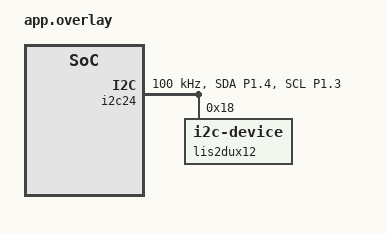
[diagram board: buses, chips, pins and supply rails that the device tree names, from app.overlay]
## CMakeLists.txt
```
# SPDX-License-Identifier: Apache-2.0

cmake_minimum_required(VERSION 3.20.0)

find_package(Zephyr REQUIRED HINTS $ENV{ZEPHYR_BASE})
project(hello_world)

target_sources(app PRIVATE
    src/main.c
    src/lis2dux12_reg.c
    src/lis2dux12_init.c
)
```

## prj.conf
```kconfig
CONFIG_GPIO=y
CONFIG_I2C=y

CONFIG_LOG=y
CONFIG_LOG_MODE_DEFERRED=n
```

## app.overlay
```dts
// Dinh nghia cac chan cho i2c va tdm
&pinctrl {
	i2c_default: i2c_default {
	        group1 {
	                psels = <NRF_PSEL(TWIM_SDA, 1, 4)>,
		                <NRF_PSEL(TWIM_SCL, 1, 3)>;
	                bias-pull-up;
		};
	};

	i2c_sleep: i2c_sleep {
                group1 {
			psels = <NRF_PSEL(TWIM_SDA, 1, 4)>,
				<NRF_PSEL(TWIM_SCL, 1, 3)>;
			low-power-enable;
		};
        };
};

&i2c24 {
	compatible = "nordic,nrf-twim";
	status = "okay";
	clock-frequency = <I2C_BITRATE_STANDARD>;
	pinctrl-0 = <&i2c_default>;
	pinctrl-1 = <&i2c_sleep>;
	pinctrl-names = "default", "sleep";

	lis2dux12: lis2dux12@18 {
		compatible = "i2c-device";
		reg = <0x18>;
	};
};

&gpio3 {
	status = "okay";
};
```

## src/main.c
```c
#include <zephyr/kernel.h>
#include <zephyr/device.h>
#include <zephyr/devicetree.h>
#include <zephyr/drivers/gpio.h>
#include <zephyr/sys/printk.h>
#include <zephyr/debug/thread_analyzer.h>

#include "lis2dux12_init.h"

/* ------------------------------------------------------------------ */
int main(void)
{
    lis2dux12_init();

    while (1)
    {
        if (k_sem_take(&mlc_sync_sem, K_FOREVER) == 0)
        {
            lis2dux12_mlc_out();
        }
    }
}
```

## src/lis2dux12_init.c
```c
#include <zephyr/kernel.h>
#include <zephyr/device.h>
#include <zephyr/drivers/gpio.h>
#include <zephyr/devicetree.h>
#include <zephyr/drivers/i2c.h>
#include <zephyr/sys/printk.h>
#include <zephyr/logging/log.h>

#include "lis2dux12_reg.h"
#include "mlc_adl_fall.h"
#include "lis2dux12_init.h"

LOG_MODULE_REGISTER(ACCE_INIT);

#define I2C_DEV_NODE DT_NODELABEL(i2c24)
#define SENSOR_NODE DT_NODELABEL(lis2dux12)
#define INT2_PIN 23

static const struct i2c_dt_spec sensor_i2c = I2C_DT_SPEC_GET(SENSOR_NODE);
static const uint8_t prev_mlc_out = 4U; // Trang thai truoc khi so sanh luon la ADL

static stmdev_ctx_t dev_ctx;
static lis2dux12_priv_t dev_priv;
static uint8_t whoamI;

// Callback cho chan ACCE_INT2
static struct gpio_callback lis2dux12_int_cb_data;

// Khai báo Semaphore
K_SEM_DEFINE(mlc_sync_sem, 0, 1);

static void lis2dux12_int_handler(const struct device *port, struct gpio_callback *cb, gpio_port_pins_t pins)
{
    k_sem_give(&mlc_sync_sem);
}

static int32_t platform_write(void *handle, uint8_t reg, const uint8_t *buf, uint16_t len)
{
    return i2c_burst_write_dt((const struct i2c_dt_spec *)handle, reg, buf, len);
}

static int32_t platform_read(void *handle, uint8_t reg, uint8_t *buf, uint16_t len)
{
    return i2c_burst_read_dt((const struct i2c_dt_spec *)handle, reg, buf, len);
}

static void platform_delay(uint32_t ms)
{
    k_msleep(ms);
}

static int load_mlc_config(void)
{
    LOG_INF("Dang nap cau hinh AI vao cam bien...");

    for (int i = 0; i < MLC_CONFIG_SIZE; i++)
    {
        uint8_t data = mlc_adl_fall_config[i].data;

        int ret = lis2dux12_write_reg(&dev_ctx, mlc_adl_fall_config[i].address, &data, 1);

        if (ret != 0)
        {
            LOG_ERR("Lenh %d: ghi thanh ghi 0x%02X that bai (ret=%d)", i, (unsigned int)mlc_adl_fall_config[i].address, ret);
            return ret; // Dung nap khi co loi
        }

        if (i == 0)
        {
            k_msleep(5); // WAIT 5ms sau lenh ghi dau tien
        }
    }
    LOG_INF("Da ghi xong cau hinh MLC.");
    return 0;
}

void lis2dux12_init(void)
{
    const struct device *i2c_dev = DEVICE_DT_GET(I2C_DEV_NODE);
    if (!device_is_ready(i2c_dev))
    {
        LOG_ERR("Bus I2C chua san sang!\n");
        return;
    }

    dev_ctx.write_reg = platform_write;
    dev_ctx.read_reg = platform_read;
    dev_ctx.mdelay = platform_delay;
    dev_ctx.handle = (void *)&sensor_i2c;
    dev_ctx.priv_data = &dev_priv;

    lis2dux12_exit_deep_power_down(&dev_ctx);

    // Sensor ID Check
    lis2dux12_device_id_get(&dev_ctx, &whoamI);
    if (whoamI != LIS2DUX12_ID)
    {
        LOG_ERR("Error: Sensor ID mismatch\n");
        // while (1);
    }
    LOG_INF("LIS2DUX12 ID OK: 0x47\n");

    lis2dux12_sw_reset(&dev_ctx);
    k_msleep(10);
    lis2dux12_init_set(&dev_ctx);

    // Nap cau hinh MLC vao cam bien
    LOG_INF("Dang nap cau hinh AI vao cam bien...\n");
    int32_t ret = load_mlc_config();

    if (ret != 0)
    {
        // Dung khoi tao MLC
        LOG_ERR("Nap cau hinh MLC that bai.");
    }
    else
    {
        // Khoi tao MLC thanh cong
        LOG_INF("San sang doc ket qua MLC.");
    }

    // Cau hinh chan va callback cho chan ACCE_INT2
    const struct device *gpio1_dev = DEVICE_DT_GET(DT_NODELABEL(gpio1));
    if (device_is_ready(gpio1_dev))
    {
        gpio_pin_configure(gpio1_dev, INT2_PIN, GPIO_INPUT | GPIO_PULL_DOWN);
        gpio_pin_interrupt_configure(gpio1_dev, INT2_PIN, GPIO_INT_EDGE_TO_ACTIVE);
        gpio_init_callback(&lis2dux12_int_cb_data, lis2dux12_int_handler, BIT(INT2_PIN));
        gpio_add_callback(gpio1_dev, &lis2dux12_int_cb_data);
    }

    /* Thanh ghi cua lis2dux12 chia thanh 2 bank (main bank va embedded func bank)
     * Cung la dia chi 0x11 nhung co 2 thanh ghi la CTRL2 va MLC_INT2
     * Muon doc ghi thanh ghi MLC_INT2 thi phai chuyen sang embedded func bank
     * neu khong se nham voi CTRL2
     */
    lis2dux12_mlc_int2_t mlc_int2 = {0};

    // Chuyen sang bank nhung
    int32_t ret = lis2dux12_mem_bank_set(&dev_ctx, LIS2DUX12_EMBED_FUNC_MEM_BANK);

    // Cau hinh MLC_INT2
    if (ret == 0)
    {
        ret = lis2dux12_read_reg(&dev_ctx, LIS2DUX12_MLC_INT2, (uint8_t *)&mlc_int2, 1);
    }

    if (ret == 0)
    {
        mlc_int2.int2_mlc1 = 1;

        ret = lis2dux12_write_reg(&dev_ctx, LIS2DUX12_MLC_INT2, (uint8_t *)&mlc_int2, 1);
    }

    // Chuyen ve bank main
    lis2dux12_mem_bank_set(&dev_ctx, LIS2DUX12_MAIN_MEM_BANK);

    // Dinh tuyen Embedded Functions ra chan INT2
    lis2dux12_pin_int_route_t pin_int2_route;
    lis2dux12_pin_int2_route_get(&dev_ctx, &pin_int2_route);
    pin_int2_route.emb_function = 1;
    lis2dux12_pin_int2_route_set(&dev_ctx, &pin_int2_route);
}

void lis2dux12_mlc_out(void)
{
    // Reset thanh ghi trang thai de chuan bi lan doc tiep theo
    lis2dux12_all_sources_t all_src;
    lis2dux12_all_sources_get(&dev_ctx, &all_src);

    lis2dux12_mlc_status_mainpage_t status;

    // Ham mlc_out ghi 4 byte vao dia chi duoc chuyen vao nen phai khai bao mang 4 phan tu
    uint8_t mlc_out[4] = {0};

    // Chi doc khi co trang thai moi
    lis2dux12_mlc_status_get(&dev_ctx, &status);

    if (status.is_mlc1)
    {
        lis2dux12_mlc_out_get(&dev_ctx, mlc_out);

        switch (*mlc_out)
        {
        case 0:
            LOG_INF("Fall\n");
            break;
        case 4:
            LOG_INF("ADL\n");
            break;
        }
    }

    // Check dieu kien nga
    if (prev_mlc_out == 4U && *mlc_out == 0U)
    {
        LOG_INF("Canh Bao: Phat hien nga !!\n");
    }
}
```

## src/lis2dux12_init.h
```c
#ifndef MLC_FALL_H
#define MLC_FALL_H

#include <stdint.h>

extern struct k_sem mlc_sync_sem;

/* Khoi tao cam bien + nap cau hinh AI (MLC). Khong cau hinh ngat GPIO. */
void lis2dux12_init(void);

/* Doc trang thai MLC 1 lan va tu kiem tra chuyen trang thai.
 * Goi ham nay LAP LAI (vd trong vong lap while cua main, cach nhau
 * mot khoang k_msleep) de MLC "chay ngam" lien tuc. */
void lis2dux12_mlc_out(void);

#endif /* MLC_FALL_H */
```

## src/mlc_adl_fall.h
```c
#ifndef MLC_ADL_FALL11_V3_H
#define MLC_ADL_FALL11_V3_H

#include <stdint.h>

/* * Thu vien cau hinh Machine Learning Core cho LIS2DUX12
 * Ket qua Decision Tree 1 (MLC1_SRC - 0x70):
 * 0  = Fall
 * 4  = ADL
 */

typedef struct
{
    uint8_t address;
    uint8_t data;
} mems_register_t;

#define MLC_CONFIG_SIZE 141 // So luong lenh cau hinh tu file .ucf

const mems_register_t mlc_adl_fall_config[MLC_CONFIG_SIZE] = {
    {0x13, 0x10},
    {0x14, 0x00},
    {0x3F, 0x80},
    {0x04, 0x00},
    {0x05, 0x00},
    {0x17, 0x40},
    {0x02, 0x01},
    {0x08, 0xB8},
    {0x09, 0xF8},
    {0x09, 0x00},
    {0x09, 0x04},
    {0x09, 0x01},
    {0x09, 0x00},
    {0x09, 0x00},
    {0x09, 0x0A},
    {0x09, 0x01},
    {0x09, 0xC8},
    {0x02, 0x01},
    {0x08, 0xC8},
    {0x09, 0xDC},
    {0x09, 0x00},
    {0x09, 0x0C},
    {0x09, 0x01},
    {0x09, 0x18},
    {0x09, 0x01},
    {0x02, 0x01},
    {0x08, 0xDC},
    {0x09, 0x01},
    {0x09, 0x00},
    {0x09, 0x00},
    {0x09, 0x00},
    {0x09, 0x3F},
    {0x09, 0x00},
    {0x09, 0x00},
    {0x09, 0x18},
    {0x09, 0x00},
    {0x09, 0x00},
    {0x09, 0x01},
    {0x09, 0x18},
    {0x09, 0x00},
    {0x09, 0x00},
    {0x09, 0x00},
    {0x09, 0x00},
    {0x09, 0x02},
    {0x09, 0x10},
    {0x09, 0x00},
    {0x09, 0x00},
    {0x09, 0x03},
    {0x09, 0x10},
    {0x09, 0x00},
    {0x09, 0xFC},
    {0x09, 0x00},
    {0x09, 0x7C},
    {0x09, 0x1F},
    {0x09, 0x00},
    {0x02, 0x11},
    {0x08, 0x0C},
    {0x09, 0x00},
    {0x09, 0x00},
    {0x09, 0x00},
    {0x09, 0x00},
    {0x09, 0x00},
    {0x09, 0x00},
    {0x09, 0x00},
    {0x09, 0x33},
    {0x09, 0x00},
    {0x09, 0x00},
    {0x09, 0x00},
    {0x3F, 0x00},
    {0x3F, 0x80},
    {0x17, 0x40},
    {0x02, 0x11},
    {0x08, 0x18},
    {0x09, 0xB4},
    {0x09, 0x34},
    {0x09, 0x05},
    {0x09, 0x83},
    {0x09, 0x3E},
    {0x09, 0x09},
    {0x09, 0x24},
    {0x09, 0xC0},
    {0x09, 0xB0},
    {0x09, 0x02},
    {0x09, 0x00},
    {0x09, 0xA1},
    {0x09, 0xB8},
    {0x09, 0x0A},
    {0x09, 0x40},
    {0x09, 0xA0},
    {0x09, 0x46},
    {0x09, 0x5A},
    {0x09, 0x04},
    {0x09, 0xE2},
    {0x09, 0x9B},
    {0x09, 0x39},
    {0x09, 0x09},
    {0x09, 0x83},
    {0x09, 0xBC},
    {0x09, 0x07},
    {0x09, 0x70},
    {0x09, 0xC1},
    {0x09, 0x6D},
    {0x09, 0x38},
    {0x09, 0x80},
    {0x09, 0xC3},
    {0x09, 0x52},
    {0x09, 0x39},
    {0x09, 0x04},
    {0x09, 0xE3},
    {0x09, 0x85},
    {0x09, 0x40},
    {0x09, 0xA4},
    {0x09, 0xC3},
    {0x09, 0xE3},
    {0x09, 0x15},
    {0x09, 0xB0},
    {0x09, 0xC1},
    {0x09, 0x3E},
    {0x09, 0x41},
    {0x09, 0x00},
    {0x09, 0xA3},
    {0x09, 0xA4},
    {0x09, 0x18},
    {0x09, 0x00},
    {0x09, 0xA1},
    {0x09, 0xF8},
    {0x09, 0x1C},
    {0x09, 0x04},
    {0x09, 0xE0},
    {0x3F, 0x80},
    {0x17, 0x00},
    {0x04, 0x00},
    {0x05, 0x10},
    {0x02, 0x01},
    {0x3F, 0x00},
    {0x1F, 0x01},
    {0x3F, 0x80},
    {0x0D, 0x01},
    {0x3A, 0x41},
    {0x3F, 0x00},
    {0x14, 0x92}
};

#endif
```
